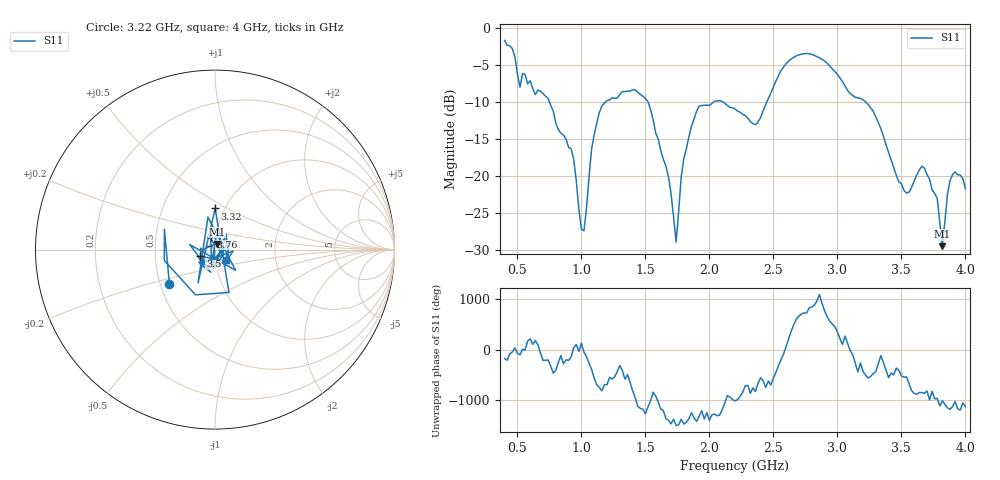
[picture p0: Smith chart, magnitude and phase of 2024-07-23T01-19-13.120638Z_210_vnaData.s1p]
!Created with skrf (http://scikit-rf.org).
# Hz S RI R 50.0
!freq ReS11 ImS11
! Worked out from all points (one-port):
!   181 points, 400 MHz to 4 GHz, reference 50 ohm
!   lowest |S11| = -29.5 dB at 3.82 GHz (marker M1), VSWR 1.07, Z = 51 + j3.24 ohm
!   |S11| at or under -10 dB: 750.4 MHz to 1.19 GHz (439.3 MHz wide, 45.3 % of centre); 1.521 GHz to 2.034 GHz (512.6 MHz wide, 28.8 % of centre); 3.222 GHz to end of sweep (the widest 3 of 4)
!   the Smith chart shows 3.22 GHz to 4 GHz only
!   S11 on the Smith chart (normalised r, x): 3.22 GHz: 0.56, -0.24; 3.32 GHz: 0.90, +0.44; 3.5 GHz: 0.85, -0.06; 3.76 GHz: 0.94, +0.14; 4 GHz: 1.12, -0.12
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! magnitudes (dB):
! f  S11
! 400 MHz  -1.7
! 520 MHz  -8.0
! 740 MHz  -9.5
! 860 MHz  -14.5
! 940 MHz  -17.8
! 1.02 GHz  -27.4
! 1.08 GHz  -16.3
! 1.14 GHz  -11.4
! 1.3 GHz  -9.0
! 1.52 GHz  -9.9
! 1.68 GHz  -20.1
! 1.74 GHz  -28.9
! 1.76 GHz  -24.7
! 1.8 GHz  -17.7
! 1.92 GHz  -10.6
! 2.2 GHz  -10.9
! 2.36 GHz  -13.1
! 2.66 GHz  -3.9
! 3.1 GHz  -8.9
! 3.22 GHz  -10.0
! 3.32 GHz  -12.8
! 3.5 GHz  -21.0
! 3.56 GHz  -22.2
! 3.66 GHz  -18.7
! 3.76 GHz  -22.3
! 3.82 GHz  -29.5
! 3.88 GHz  -20.6
! 4 GHz  -21.7
